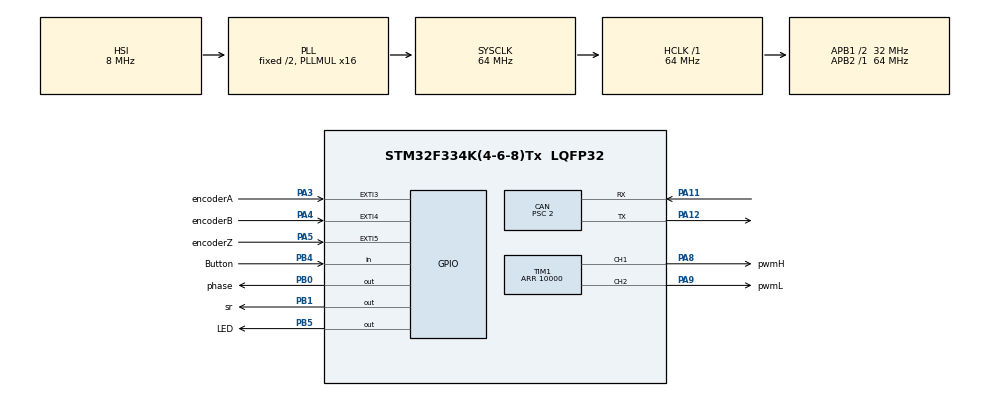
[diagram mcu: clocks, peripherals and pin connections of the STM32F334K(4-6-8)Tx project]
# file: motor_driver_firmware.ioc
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CAN.BS1=CAN_BS1_13TQ
CAN.BS2=CAN_BS2_2TQ
CAN.CalculateBaudRate=1000000
CAN.CalculateTimeBit=1000
CAN.CalculateTimeQuantum=62.5
CAN.Prescaler=2
FREERTOS.Tasks01=defaultTask,24,128,StartDefaultTask,Default,NULL,Dynamic,NULL,NULL
Mcu.Family=STM32F3
Mcu.Name=STM32F334K(4-6-8)Tx
Mcu.Package=LQFP32
NVIC.CAN_RX0_IRQn=true\:7\:0\:true\:false\:true\:true\:true\:true\:true
NVIC.CAN_RX1_IRQn=true\:7\:0\:true\:false\:true\:true\:true\:true\:true
NVIC.CAN_SCE_IRQn=true\:7\:0\:true\:false\:true\:true\:true\:true\:true
NVIC.CAN_TX_IRQn=true\:7\:0\:true\:false\:true\:true\:true\:true\:true
NVIC.EXTI3_IRQn=true\:7\:0\:true\:false\:true\:true\:true\:true\:true
NVIC.EXTI4_IRQn=true\:7\:0\:true\:false\:true\:true\:true\:true\:true
NVIC.EXTI9_5_IRQn=true\:7\:0\:true\:false\:true\:true\:true\:true\:true
NVIC.PriorityGroup=NVIC_PRIORITYGROUP_4
NVIC.TIM6_DAC1_IRQn=true\:7\:0\:true\:false\:true\:true\:true\:true\:true
PA11.Mode=CAN_Activate
PA11.Signal=CAN_RX
PA12.Mode=CAN_Activate
PA12.Signal=CAN_TX
PA13.Mode=Serial_Wire
PA13.Signal=SYS_JTMS-SWDIO
PA14.Mode=Serial_Wire
PA14.Signal=SYS_JTCK-SWCLK
PA3.GPIO_Label=encoderA
PA3.GPIO_ModeDefaultEXTI=GPIO_MODE_IT_RISING_FALLING
PA3.Signal=GPXTI3
PA4.GPIO_Label=encoderB
PA4.GPIO_ModeDefaultEXTI=GPIO_MODE_IT_RISING_FALLING
PA4.Signal=GPXTI4
PA5.GPIO_Label=encoderZ
PA5.GPIO_ModeDefaultEXTI=GPIO_MODE_IT_RISING_FALLING
PA5.Signal=GPXTI5
PA8.GPIO_Label=pwmH
PA8.Signal=S_TIM1_CH1
PA9.GPIO_Label=pwmL
PA9.Signal=S_TIM1_CH2
PB0.GPIO_Label=phase
PB0.Signal=GPIO_Output
PB1.GPIO_Label=sr
PB1.Signal=GPIO_Output
PB4.GPIO_Label=Button
PB4.Signal=GPIO_Input
PB5.GPIO_Label=LED
PB5.Signal=GPIO_Output
ProjectManager.HeapSize=0x200
ProjectManager.StackSize=0x400
ProjectManager.TargetToolchain=Makefile
RCC.AHBFreq_Value=64000000
RCC.APB1CLKDivider=RCC_HCLK_DIV2
RCC.APB1Freq_Value=32000000
RCC.APB1TimFreq_Value=64000000
RCC.APB2Freq_Value=64000000
RCC.APB2TimFreq_Value=64000000
RCC.CortexFreq_Value=64000000
RCC.HCLKFreq_Value=64000000
RCC.HSE_VALUE=8000000
RCC.HSI_VALUE=8000000
RCC.PLLMUL=RCC_PLL_MUL16
RCC.SYSCLKFreq_VALUE=64000000
RCC.SYSCLKSourceVirtual=RCC_SYSCLKSOURCE_PLLCLK
SH.S_TIM1_CH1.0=TIM1_CH1,PWM Generation1 CH1
SH.S_TIM1_CH2.0=TIM1_CH2,PWM Generation2 CH2
TIM1.Channel-PWM\ Generation1\ CH1=TIM_CHANNEL_1
TIM1.Channel-PWM\ Generation2\ CH2=TIM_CHANNEL_2
TIM1.Period=10000
TIM6.Period=64000
VP_FREERTOS_VS_CMSIS_V2.Mode=CMSIS_V2
VP_TIM1_VS_ClockSourceINT.Mode=Internal
VP_TIM6_VS_ClockSourceINT.Mode=Enable_Timer
board=custom

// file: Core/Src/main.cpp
/* USER CODE BEGIN Header */
/**
  ******************************************************************************
  * @file           : main.c
  * @brief          : Main program body
  ******************************************************************************
  * @attention
  *
  * Copyright (c) 2025 STMicroelectronics.
  * All rights reserved.
  *
  * This software is licensed under terms that can be found in the LICENSE file
  * in the root directory of this software component.
  * If no LICENSE file comes with this software, it is provided AS-IS.
  *
  ******************************************************************************
  */
/* USER CODE END Header */
#include "main.h"
#include "cmsis_os.h"

/* USER CODE BEGIN Includes */
#include <math.h>
#include <encoder.hpp>
#include "stdio.h"
#include "math.h"
#include "string.h"
/* USER CODE END Includes */

CAN_HandleTypeDef hcan;

TIM_HandleTypeDef htim1;
TIM_HandleTypeDef htim6;

/* Definitions for defaultTask */
osThreadId_t defaultTaskHandle;
const osThreadAttr_t defaultTask_attributes = {
  .name = "defaultTask",
  .stack_size = 128 * 4,
  .priority = (osPriority_t) osPriorityNormal,
};
/* USER CODE BEGIN PV */
osThreadId_t encoderTaskHandle;
const osThreadAttr_t encoderTask_attributes = {
  .name = "encoderTask",
  .stack_size = 128 * 4,
  .priority = (osPriority_t) osPriorityNormal,
};

osThreadId_t switchTaskHandle;
const osThreadAttr_t switchTask_attributes = {
  .name = "switchTask",
  .stack_size = 128 * 4,
  .priority = (osPriority_t) osPriorityNormal,
};
/* USER CODE END PV */

void SystemClock_Config(void);
static void MX_GPIO_Init(void);
static void MX_CAN_Init(void);
static void MX_TIM1_Init(void);
static void MX_TIM6_Init(void);
void StartDefaultTask(void *argument);

/* USER CODE BEGIN PFP */
void StartEncoderTask(void *argument);
void StartSwitchTask(void *argument);

const int CAN_RECEIVE_ID[] = {0x200, 0x1FF};
#define MIN_CAN_SEND_ID 0x201

int output = 0;
int CAN_output = 0;
int my_id = 0;
#define max_deff 250
#define max_id 8
#define led_flip_time 150
#define id_ch_interval 3000

Encoder Enco(encoderA_GPIO_Port,encoderA_Pin,encoderB_GPIO_Port,encoderB_Pin,400);

void HAL_CAN_RxFifo0MsgPendingCallback(CAN_HandleTypeDef *hcan){
  CAN_RxHeaderTypeDef rxHeader;
  uint8_t rxData[8];
  int16_t Data[4];
  if (HAL_CAN_GetRxMessage(hcan, CAN_RX_FIFO0, &rxHeader, rxData) == HAL_OK)
	{
		if(rxHeader.StdId == CAN_RECEIVE_ID[0] && my_id < 4){
      char data[8] = {rxData[1],rxData[0],rxData[3],rxData[2],rxData[5],rxData[4],rxData[6],rxData[7]};
      memcpy(Data,data,8);
      CAN_output = abs(Data[my_id]) > 10000 ? 10000 : Data[my_id];
    }
    else if(rxHeader.StdId == CAN_RECEIVE_ID[1] && my_id >= 4){
      char data[8] = {rxData[1],rxData[0],rxData[3],rxData[2],rxData[5],rxData[4],rxData[6],rxData[7]};
      memcpy(Data,data,8);
      CAN_output = abs(Data[my_id-4]) > 10000 ? 10000 : Data[my_id-4];
    }
	}
}

void HAL_TIM_PeriodElapsedCallback(TIM_HandleTypeDef *htim)
{
  Enco.TimCallBack();
}

void HAL_GPIO_EXTI_Callback(uint16_t GPIO_Pin)
{
  // HAL_GPIO_TogglePin(LED_GPIO_Port,LED_Pin);
  Enco.PinCallBack(GPIO_Pin);
}
/* USER CODE END PFP */

/* USER CODE BEGIN 0 */
#define FLASH_USER_START_ADDR  ((uint32_t)0x0800FC00) // 最後の1KB（64KB - 1KB）

void Flash_Write_ID(uint32_t id)
{
  HAL_FLASH_Unlock();

  // セクタ消去（1KB単位）
  FLASH_EraseInitTypeDef eraseInit;
  uint32_t pageError = 0;
  eraseInit.TypeErase = FLASH_TYPEERASE_PAGES;
  eraseInit.PageAddress = FLASH_USER_START_ADDR;
  eraseInit.NbPages = 1;

  if (HAL_FLASHEx_Erase(&eraseInit, &pageError) != HAL_OK)
  {
    HAL_FLASH_Lock();
    return;
  }

  // 書き込み（32bit単位）
  HAL_FLASH_Program(FLASH_TYPEPROGRAM_WORD, FLASH_USER_START_ADDR, id);

  HAL_FLASH_Lock();
}

uint32_t Flash_Read_ID(void)
{
  return *(uint32_t*)FLASH_USER_START_ADDR;
}

/* USER CODE END 0 */

int main(void)
{

  /* MCU Configuration--------------------------------------------------------*/

  /* Reset of all peripherals, Initializes the Flash interface and the Systick. */
  HAL_Init();

  /* Configure the system clock */
  SystemClock_Config();

  /* Initialize all configured peripherals */
  MX_GPIO_Init();
  MX_CAN_Init();
  MX_TIM1_Init();
  MX_TIM6_Init();
  /* USER CODE BEGIN 2 */
  HAL_TIM_Base_Start_IT(&htim6);
  my_id = Flash_Read_ID();
  /* USER CODE END 2 */

  /* Init scheduler */
  osKernelInitialize();

  /* Create the thread(s) */
  /* creation of defaultTask */
  defaultTaskHandle = osThreadNew(StartDefaultTask, NULL, &defaultTask_attributes);

  /* USER CODE BEGIN RTOS_THREADS */
  encoderTaskHandle = osThreadNew(StartEncoderTask, NULL, &encoderTask_attributes);
  switchTaskHandle = osThreadNew(StartSwitchTask, NULL, &switchTask_attributes);
  /* add threads, ... */
  /* USER CODE END RTOS_THREADS */

  /* Start scheduler */
  osKernelStart();

  /* We should never get here as control is now taken by the scheduler */

  /* Infinite loop */
  while (1)
  {

  }
}

void SystemClock_Config(void)
{
  RCC_OscInitTypeDef RCC_OscInitStruct = {0};
  RCC_ClkInitTypeDef RCC_ClkInitStruct = {0};
  RCC_PeriphCLKInitTypeDef PeriphClkInit = {0};

  /** Initializes the RCC Oscillators according to the specified parameters
  * in the RCC_OscInitTypeDef structure.
  */
  RCC_OscInitStruct.OscillatorType = RCC_OSCILLATORTYPE_HSI;
  RCC_OscInitStruct.HSIState = RCC_HSI_ON;
  RCC_OscInitStruct.HSICalibrationValue = RCC_HSICALIBRATION_DEFAULT;
  RCC_OscInitStruct.PLL.PLLState = RCC_PLL_ON;
  RCC_OscInitStruct.PLL.PLLSource = RCC_PLLSOURCE_HSI;
  RCC_OscInitStruct.PLL.PLLMUL = RCC_PLL_MUL16;
  if (HAL_RCC_OscConfig(&RCC_OscInitStruct) != HAL_OK)
  {
    Error_Handler();
  }

  /** Initializes the CPU, AHB and APB buses clocks
  */
  RCC_ClkInitStruct.ClockType = RCC_CLOCKTYPE_HCLK|RCC_CLOCKTYPE_SYSCLK
                              |RCC_CLOCKTYPE_PCLK1|RCC_CLOCKTYPE_PCLK2;
  RCC_ClkInitStruct.SYSCLKSource = RCC_SYSCLKSOURCE_PLLCLK;
  RCC_ClkInitStruct.AHBCLKDivider = RCC_SYSCLK_DIV1;
  RCC_ClkInitStruct.APB1CLKDivider = RCC_HCLK_DIV2;
  RCC_ClkInitStruct.APB2CLKDivider = RCC_HCLK_DIV1;

  if (HAL_RCC_ClockConfig(&RCC_ClkInitStruct, FLASH_LATENCY_2) != HAL_OK)
  {
    Error_Handler();
  }
  PeriphClkInit.PeriphClockSelection = RCC_PERIPHCLK_TIM1;
  PeriphClkInit.Tim1ClockSelection = RCC_TIM1CLK_HCLK;
  if (HAL_RCCEx_PeriphCLKConfig(&PeriphClkInit) != HAL_OK)
  {
    Error_Handler();
  }
}

static void MX_CAN_Init(void)
{

  hcan.Instance = CAN;
  hcan.Init.Prescaler = 2;
  hcan.Init.Mode = CAN_MODE_NORMAL;
  hcan.Init.SyncJumpWidth = CAN_SJW_1TQ;
  hcan.Init.TimeSeg1 = CAN_BS1_13TQ;
  hcan.Init.TimeSeg2 = CAN_BS2_2TQ;
  hcan.Init.TimeTriggeredMode = DISABLE;
  hcan.Init.AutoBusOff = DISABLE;
  hcan.Init.AutoWakeUp = DISABLE;
  hcan.Init.AutoRetransmission = DISABLE;
  hcan.Init.ReceiveFifoLocked = DISABLE;
  hcan.Init.TransmitFifoPriority = DISABLE;
  if (HAL_CAN_Init(&hcan) != HAL_OK)
  {
    Error_Handler();
  }
  /* USER CODE BEGIN CAN_Init 2 */
  CAN_FilterTypeDef sFilterConfig;
  sFilterConfig.FilterBank = 0;
  sFilterConfig.FilterMode = CAN_FILTERMODE_IDMASK;
  sFilterConfig.FilterScale = CAN_FILTERSCALE_32BIT;
  sFilterConfig.FilterIdHigh = 0x0000;
  sFilterConfig.FilterIdLow = 0x0000;
  sFilterConfig.FilterMaskIdHigh = 0x0000;
  sFilterConfig.FilterMaskIdLow = 0x0000;
  sFilterConfig.FilterFIFOAssignment = CAN_FILTER_FIFO0;
  sFilterConfig.FilterActivation = ENABLE;
  sFilterConfig.SlaveStartFilterBank = 0;
  if (HAL_CAN_ConfigFilter(&hcan, &sFilterConfig) != HAL_OK) {
      Error_Handler();
  }

  HAL_CAN_Start(&hcan);
  HAL_CAN_ActivateNotification(&hcan, CAN_IT_TX_MAILBOX_EMPTY | CAN_IT_RX_FIFO0_MSG_PENDING);
  /* USER CODE END CAN_Init 2 */

}

static void MX_TIM1_Init(void)
{

  TIM_ClockConfigTypeDef sClockSourceConfig = {0};
  TIM_MasterConfigTypeDef sMasterConfig = {0};
  TIM_OC_InitTypeDef sConfigOC = {0};
  TIM_BreakDeadTimeConfigTypeDef sBreakDeadTimeConfig = {0};

  htim1.Instance = TIM1;
  htim1.Init.Prescaler = 0;
  htim1.Init.CounterMode = TIM_COUNTERMODE_UP;
  htim1.Init.Period = 10000;
  htim1.Init.ClockDivision = TIM_CLOCKDIVISION_DIV1;
  htim1.Init.RepetitionCounter = 0;
  htim1.Init.AutoReloadPreload = TIM_AUTORELOAD_PRELOAD_DISABLE;
  if (HAL_TIM_Base_Init(&htim1) != HAL_OK)
  {
    Error_Handler();
  }
  sClockSourceConfig.ClockSource = TIM_CLOCKSOURCE_INTERNAL;
  if (HAL_TIM_ConfigClockSource(&htim1, &sClockSourceConfig) != HAL_OK)
  {
    Error_Handler();
  }
  if (HAL_TIM_PWM_Init(&htim1) != HAL_OK)
  {
    Error_Handler();
  }
  sMasterConfig.MasterOutputTrigger = TIM_TRGO_RESET;
  sMasterConfig.MasterOutputTrigger2 = TIM_TRGO2_RESET;
  sMasterConfig.MasterSlaveMode = TIM_MASTERSLAVEMODE_DISABLE;
  if (HAL_TIMEx_MasterConfigSynchronization(&htim1, &sMasterConfig) != HAL_OK)
  {
    Error_Handler();
  }
  sConfigOC.OCMode = TIM_OCMODE_PWM1;
  sConfigOC.Pulse = 0;
  sConfigOC.OCPolarity = TIM_OCPOLARITY_HIGH;
  sConfigOC.OCNPolarity = TIM_OCNPOLARITY_HIGH;
  sConfigOC.OCFastMode = TIM_OCFAST_DISABLE;
  sConfigOC.OCIdleState = TIM_OCIDLESTATE_RESET;
  sConfigOC.OCNIdleState = TIM_OCNIDLESTATE_RESET;
  if (HAL_TIM_PWM_ConfigChannel(&htim1, &sConfigOC, TIM_CHANNEL_1) != HAL_OK)
  {
    Error_Handler();
  }
  if (HAL_TIM_PWM_ConfigChannel(&htim1, &sConfigOC, TIM_CHANNEL_2) != HAL_OK)
  {
    Error_Handler();
  }
  sBreakDeadTimeConfig.OffStateRunMode = TIM_OSSR_DISABLE;
  sBreakDeadTimeConfig.OffStateIDLEMode = TIM_OSSI_DISABLE;
  sBreakDeadTimeConfig.LockLevel = TIM_LOCKLEVEL_OFF;
  sBreakDeadTimeConfig.DeadTime = 0;
  sBreakDeadTimeConfig.BreakState = TIM_BREAK_DISABLE;
  sBreakDeadTimeConfig.BreakPolarity = TIM_BREAKPOLARITY_HIGH;
  sBreakDeadTimeConfig.BreakFilter = 0;
  sBreakDeadTimeConfig.Break2State = TIM_BREAK2_DISABLE;
  sBreakDeadTimeConfig.Break2Polarity = TIM_BREAK2POLARITY_HIGH;
  sBreakDeadTimeConfig.Break2Filter = 0;
  sBreakDeadTimeConfig.AutomaticOutput = TIM_AUTOMATICOUTPUT_DISABLE;
  if (HAL_TIMEx_ConfigBreakDeadTime(&htim1, &sBreakDeadTimeConfig) != HAL_OK)
  {
    Error_Handler();
  }
  HAL_TIM_MspPostInit(&htim1);

}

static void MX_TIM6_Init(void)
{

  TIM_MasterConfigTypeDef sMasterConfig = {0};

  htim6.Instance = TIM6;
  htim6.Init.Prescaler = 0;
  htim6.Init.CounterMode = TIM_COUNTERMODE_UP;
  htim6.Init.Period = 64000;
  htim6.Init.AutoReloadPreload = TIM_AUTORELOAD_PRELOAD_DISABLE;
  if (HAL_TIM_Base_Init(&htim6) != HAL_OK)
  {
    Error_Handler();
  }
  sMasterConfig.MasterOutputTrigger = TIM_TRGO_RESET;
  sMasterConfig.MasterSlaveMode = TIM_MASTERSLAVEMODE_DISABLE;
  if (HAL_TIMEx_MasterConfigSynchronization(&htim6, &sMasterConfig) != HAL_OK)
  {
    Error_Handler();
  }

}

static void MX_GPIO_Init(void)
{
  GPIO_InitTypeDef GPIO_InitStruct = {0};

  /* GPIO Ports Clock Enable */
  __HAL_RCC_GPIOA_CLK_ENABLE();
  __HAL_RCC_GPIOB_CLK_ENABLE();

  /*Configure GPIO pin Output Level */
  HAL_GPIO_WritePin(GPIOB, phase_Pin|sr_Pin|LED_Pin, GPIO_PIN_RESET);

  /*Configure GPIO pins : encoderA_Pin encoderB_Pin encoderZ_Pin */
  GPIO_InitStruct.Pin = encoderA_Pin|encoderB_Pin|encoderZ_Pin;
  GPIO_InitStruct.Mode = GPIO_MODE_IT_RISING_FALLING;
  GPIO_InitStruct.Pull = GPIO_NOPULL;
  HAL_GPIO_Init(GPIOA, &GPIO_InitStruct);

  /*Configure GPIO pins : phase_Pin sr_Pin LED_Pin */
  GPIO_InitStruct.Pin = phase_Pin|sr_Pin|LED_Pin;
  GPIO_InitStruct.Mode = GPIO_MODE_OUTPUT_PP;
  GPIO_InitStruct.Pull = GPIO_NOPULL;
  GPIO_InitStruct.Speed = GPIO_SPEED_FREQ_LOW;
  HAL_GPIO_Init(GPIOB, &GPIO_InitStruct);

  /*Configure GPIO pin : Button_Pin */
  GPIO_InitStruct.Pin = Button_Pin;
  GPIO_InitStruct.Mode = GPIO_MODE_INPUT;
  GPIO_InitStruct.Pull = GPIO_NOPULL;
  HAL_GPIO_Init(Button_GPIO_Port, &GPIO_InitStruct);

  /* EXTI interrupt init*/
  HAL_NVIC_SetPriority(EXTI3_IRQn, 7, 0);
  HAL_NVIC_EnableIRQ(EXTI3_IRQn);

  HAL_NVIC_SetPriority(EXTI4_IRQn, 7, 0);
  HAL_NVIC_EnableIRQ(EXTI4_IRQn);

  HAL_NVIC_SetPriority(EXTI9_5_IRQn, 7, 0);
  HAL_NVIC_EnableIRQ(EXTI9_5_IRQn);

}

/* USER CODE BEGIN 4 */

void StartEncoderTask(void *argument)
{
  HAL_GPIO_WritePin(LED_GPIO_Port,LED_Pin,GPIO_PIN_RESET);
  for(;;)
  {
    osDelay(1);
    CAN_TxHeaderTypeDef TxHeader;
    uint32_t TxMailbox;
    if (HAL_CAN_GetTxMailboxesFreeLevel(&hcan) <= 0){
      continue;
    }
    int16_t S[4];
    S[0] = Enco.get_degree();
    S[1] = Enco.get_rpm();
    S[2] = 1;
    S[3] = 0;
    uint8_t b[8];
    memcpy((char*)b, S, 8);
    uint8_t send[8] = {b[1], b[0], b[3],b[2],b[5],b[4],b[7],b[6]};

    TxHeader.StdId = MIN_CAN_SEND_ID;// 受取手のCANのID
    TxHeader.RTR = CAN_RTR_DATA;
    TxHeader.IDE = CAN_ID_STD;
    TxHeader.DLC = 8;//データ長を8byteに設定
    TxHeader.TransmitGlobalTime = DISABLE;

    if (HAL_CAN_AddTxMessage(&hcan, &TxHeader, send, &TxMailbox) != HAL_OK) {
      continue;
    }
  }
}

void StartSwitchTask(void *argument)
{
  bool sw_state = false;
  int count_led = 0;
  for(;;)
  {
    bool state_ = !HAL_GPIO_ReadPin(Button_GPIO_Port, Button_Pin);
    if(!sw_state & state_){
      HAL_GPIO_WritePin(LED_GPIO_Port,LED_Pin,GPIO_PIN_RESET);
      sw_state = state_;
      int ch_id_count = id_ch_interval;
      int id_ = -1;
      while(ch_id_count){
        osDelay(1);
        bool state_ = !HAL_GPIO_ReadPin(Button_GPIO_Port, Button_Pin);
        if(!sw_state & state_){
          id_++;
          ch_id_count = id_ch_interval;
        }
        sw_state = state_;
        ch_id_count --;
      }
      if((id_ < max_id) && (my_id != id_)){
        my_id = id_;
        Flash_Write_ID(my_id);
      }
      count_led = 0;
    }
    sw_state = state_;
    if(int(count_led/led_flip_time)%2 == 0 && int(count_led/led_flip_time) <= my_id*2){
      HAL_GPIO_WritePin(LED_GPIO_Port,LED_Pin,GPIO_PIN_SET);
    }else{
      HAL_GPIO_WritePin(LED_GPIO_Port,LED_Pin,GPIO_PIN_RESET);
    }

    if(int(count_led/led_flip_time) > max_id*2)count_led = 0;
    else count_led++;
    osDelay(1);
  }
  /* USER CODE END 5 */
}
/* USER CODE END 4 */

void StartDefaultTask(void *argument)
{
  /* USER CODE BEGIN 5 */
  osDelay(500);
  HAL_TIM_PWM_Start(&htim1,TIM_CHANNEL_1);//pwm high
  HAL_TIM_PWM_Start(&htim1,TIM_CHANNEL_2);//pwm high
  __HAL_TIM_SET_COMPARE(&htim1, TIM_CHANNEL_2, 10000);
  HAL_GPIO_WritePin(sr_GPIO_Port,sr_Pin,GPIO_PIN_SET);
  HAL_GPIO_WritePin(phase_GPIO_Port,phase_Pin,GPIO_PIN_RESET);
  /* Infinite loop */
  for(;;)
  {
    if(output > 0)
      HAL_GPIO_WritePin(phase_GPIO_Port,phase_Pin,GPIO_PIN_RESET);
    else
      HAL_GPIO_WritePin(phase_GPIO_Port,phase_Pin,GPIO_PIN_SET);
    __HAL_TIM_SET_COMPARE(&htim1, TIM_CHANNEL_1, abs(output));

    if(CAN_output-output > max_deff){
      output += max_deff;
    }else if(CAN_output-output < -max_deff){
      output -= max_deff;
    }else{
      output = CAN_output;
    }
    osDelay(1);
  }
  /* USER CODE END 5 */
}

void Error_Handler(void)
{
  __disable_irq();
  while (1)
  {
  }
}
